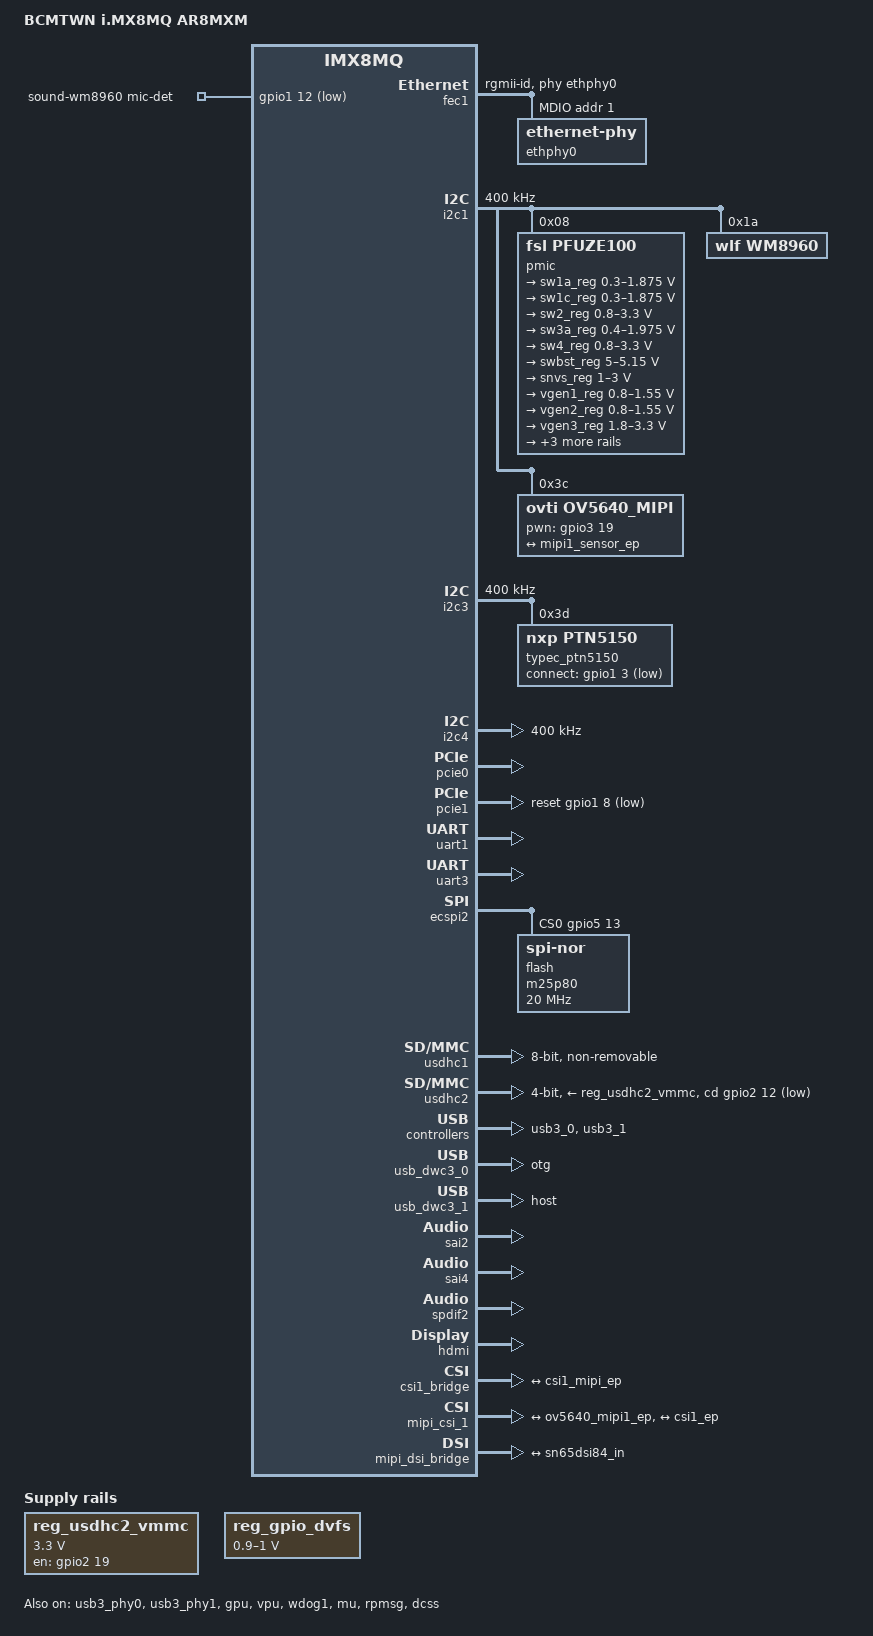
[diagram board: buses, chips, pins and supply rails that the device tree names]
/*
 */

/dts-v1/;

#include "fsl-imx8mq.dtsi"

/ {
	firmware {
		android {
			compatible = "android,firmware";
			fstab {
				compatible = "android,fstab";
				vendor {
					compatible = "android,vendor";
					/* sd card node which used if androidboot.storage_type=sd */
					dev_sd = "/dev/block/platform/30b50000.usdhc/by-name/vendor";
					/* emmc node which used if androidboot.storage_type=emmc */
					dev_emmc = "/dev/block/platform/30b40000.usdhc/by-name/vendor";
					/* default emmc node used for GSI */
					dev = "/dev/block/platform/30b40000.usdhc/by-name/vendor";
					type = "ext4";
					mnt_flags = "ro,barrier=1,inode_readahead_blks=8";
					fsmgr_flags = "wait,slotselect,avb";
				};
			};
			vbmeta {
				/*we need use FirstStageMountVBootV2 if we enable avb*/
				compatible = "android,vbmeta";
				/*parts means the partition witch can be mount in first stage*/
				parts = "vbmeta,boot,system,vendor";
			};
		};
	};
};

/ {
	model = "BCMTWN i.MX8MQ AR8MXM";
	compatible = "bcmtwn,imx8mq-ar8mxm", "fsl,imx8mq";

	chosen {
		bootargs = "console=ttymxc0,115200 earlycon=ec_imx6q,0x30860000,115200";
		stdout-path = &uart1;
	};

	regulators {
		compatible = "simple-bus";
		#address-cells = <1>;
		#size-cells = <0>;

		reg_usdhc2_vmmc: usdhc2_vmmc {
			compatible = "regulator-fixed";
			regulator-name = "VSD_3V3";
			regulator-min-microvolt = <3300000>;
			regulator-max-microvolt = <3300000>;
			gpio = <&gpio2 19 GPIO_ACTIVE_HIGH>;
			off-on-delay = <20000>;
			enable-active-high;
		};


		reg_gpio_dvfs: regulator-gpio {
			compatible = "regulator-gpio";
			pinctrl-names = "default";
			pinctrl-0 = <&pinctrl_dvfs>;
			regulator-min-microvolt = <900000>;
			regulator-max-microvolt = <1000000>;
			regulator-name = "gpio_dvfs";
			regulator-type = "voltage";
			gpios = <&gpio1 13 GPIO_ACTIVE_HIGH>;
			states = <900000 0x1 1000000 0x0>;
		};
	};

	sound-hdmi {
		compatible = "fsl,imx8mq-evk-cdnhdmi",
				"fsl,imx-audio-cdnhdmi";
		model = "imx-audio-hdmi";
		audio-cpu = <&sai4>;
		protocol = <1>;
		hdmi-out;
		constraint-rate = <44100>,
				<88200>,
				<176400>,
				<32000>,
				<48000>,
				<96000>,
				<192000>;
	};

	sound-hdmi-arc {
		compatible = "fsl,imx-audio-spdif";
		model = "imx-hdmi-arc";
		spdif-controller = <&spdif2>;
		spdif-in;
	};

	sound-wm8960 {
		compatible = "fsl,imx7d-evk-wm8960",
			     "fsl,imx-audio-wm8960";
		model = "wm8960-audio";
		cpu-dai = <&sai2>;
		audio-codec = <&wm8960>;
		codec-master;
		mic-det-gpios = <&gpio1 12 GPIO_ACTIVE_LOW>;
		audio-routing =
			"Headphone Jack", "HP_L",
			"Headphone Jack", "HP_R",
			"LINPUT1", "Mic Jack",
			"LINPUT2", "Mic Jack",
			"Mic Jack", "MICB";
	};

	bt_rfkill {
		compatible = "fsl,mxc_bt_rfkill";
		/* bt-power-gpios = <&gpio3 5 GPIO_ACTIVE_LOW>; */
		status ="okay";
	};

};

&clk {
	assigned-clocks = <&clk IMX8MQ_AUDIO_PLL1>, <&clk IMX8MQ_AUDIO_PLL2>;
	assigned-clock-rates = <786432000>, <722534400>;
};

&iomuxc {
	pinctrl-names = "default";
	pinctrl-0 = <&pinctrl_hog>;

	imx8mq-ar8mxm {
		pinctrl_hog: hoggrp {
			fsl,pins = <
                MX8MQ_IOMUXC_GPIO1_IO07_GPIO1_IO7          0x00001816		/* PMIC_nINT */
                MX8MQ_IOMUXC_GPIO1_IO11_GPIO1_IO11         0x00000016		/* USB30PW_EN */
                MX8MQ_IOMUXC_SAI1_MCLK_GPIO4_IO20          0x00000056		/* CAN_INT */
                MX8MQ_IOMUXC_SAI1_RXFS_GPIO4_IO0           0x00000016		/* USB_OC_B */
                MX8MQ_IOMUXC_SPDIF_EXT_CLK_GPIO5_IO5       0x00000016		/* FANOUT */


                MX8MQ_IOMUXC_GPIO1_IO10_GPIO1_IO10         0x00000016		/* SPK_DET */
                MX8MQ_IOMUXC_GPIO1_IO12_GPIO1_IO12         0x00000016		/* MIC_DET */

                MX8MQ_IOMUXC_SAI3_RXC_GPIO4_IO29           0x80000000		/* M2B_nRST */
                MX8MQ_IOMUXC_SAI3_RXFS_GPIO4_IO28          0x80000000		/* M2B_nDIS */

                MX8MQ_IOMUXC_SPDIF_RX_GPIO5_IO4            0x00000016		/* BL0_PWREN */
                MX8MQ_IOMUXC_SPDIF_TX_GPIO5_IO3            0x00000016		/* L0_PWREN */
                MX8MQ_IOMUXC_SAI1_TXC_GPIO4_IO11           0x00000016		/* LVDS0_TS_INT */


                MX8MQ_IOMUXC_NAND_CE2_B_GPIO3_IO3          0x00000016		/* DSI_TS_nINT */
                MX8MQ_IOMUXC_NAND_CE3_B_GPIO3_IO4          0x00000016		/* DSI_EN */


                MX8MQ_IOMUXC_SAI5_RXD1_GPIO3_IO22          0x00001816		/* ENET_nRST */
                MX8MQ_IOMUXC_SAI5_RXD2_GPIO3_IO23          0x00000016		/* ENET_nINT */


				/* PWM */
                MX8MQ_IOMUXC_GPIO1_IO01_PWM1_OUT           0x00000016
                MX8MQ_IOMUXC_SAI1_TXFS_GPIO4_IO10          0x00001816


				/* DIO CONN */
                MX8MQ_IOMUXC_NAND_RE_B_GPIO3_IO15          0x00000016
                MX8MQ_IOMUXC_NAND_READY_B_GPIO3_IO16  	   0x00000016
                MX8MQ_IOMUXC_NAND_WE_B_GPIO3_IO17          0x00000016
                MX8MQ_IOMUXC_NAND_WP_B_GPIO3_IO18          0x00000016
                MX8MQ_IOMUXC_NAND_DATA04_GPIO3_IO10        0x00000016
                MX8MQ_IOMUXC_NAND_DATA05_GPIO3_IO11        0x00000016
                MX8MQ_IOMUXC_NAND_DATA06_GPIO3_IO12        0x00000016
                MX8MQ_IOMUXC_NAND_DATA07_GPIO3_IO13        0x00000016


				/* CLK */
                MX8MQ_IOMUXC_GPIO1_IO00_ANAMIX_REF_CLK_32K 0x59				/* REF_CLK_32K */
                MX8MQ_IOMUXC_GPIO1_IO14_CCMSRCGPCMIX_CLKO1 0x59
			>;
		};


		pinctrl_fec1: fec1grp {
			fsl,pins = <
                MX8MQ_IOMUXC_ENET_MDC_ENET1_MDC            0x3
                MX8MQ_IOMUXC_ENET_MDIO_ENET1_MDIO          0x23
                MX8MQ_IOMUXC_ENET_RD0_ENET1_RGMII_RD0      0x91
                MX8MQ_IOMUXC_ENET_RD1_ENET1_RGMII_RD1      0x91
                MX8MQ_IOMUXC_ENET_RD2_ENET1_RGMII_RD2      0x91
                MX8MQ_IOMUXC_ENET_RD3_ENET1_RGMII_RD3      0x91
                MX8MQ_IOMUXC_ENET_RXC_ENET1_RGMII_RXC      0x91
                MX8MQ_IOMUXC_ENET_RX_CTL_ENET1_RGMII_RX_CTL 0x91
                MX8MQ_IOMUXC_ENET_TD0_ENET1_RGMII_TD0      0x1f
                MX8MQ_IOMUXC_ENET_TD1_ENET1_RGMII_TD1      0x1f
                MX8MQ_IOMUXC_ENET_TD2_ENET1_RGMII_TD2      0x1f
                MX8MQ_IOMUXC_ENET_TD3_ENET1_RGMII_TD3      0x1f
                MX8MQ_IOMUXC_ENET_TXC_ENET1_RGMII_TXC      0x1f
                MX8MQ_IOMUXC_ENET_TX_CTL_ENET1_RGMII_TX_CTL 0x1f
			>;
		};

		pinctrl_i2c1: i2c1grp {
			fsl,pins = <
                MX8MQ_IOMUXC_I2C1_SCL_I2C1_SCL             0x4000007f
                MX8MQ_IOMUXC_I2C1_SDA_I2C1_SDA             0x4000007f
			>;
		};

		pinctrl_i2c2: i2c2grp {
			fsl,pins = <
                MX8MQ_IOMUXC_I2C2_SCL_I2C2_SCL             0x4000007f
                MX8MQ_IOMUXC_I2C2_SDA_I2C2_SDA             0x4000007f
			>;
		};

		pinctrl_i2c3: i2c3grp {
			fsl,pins = <
				MX8MQ_IOMUXC_I2C3_SCL_I2C3_SCL			   0x4000007f
				MX8MQ_IOMUXC_I2C3_SDA_I2C3_SDA			   0x4000007f
			>;
		};

		pinctrl_i2c4: i2c4grp {
			fsl,pins = <
				MX8MQ_IOMUXC_I2C4_SCL_I2C4_SCL			   0x4000007f
				MX8MQ_IOMUXC_I2C4_SDA_I2C4_SDA			   0x4000007f
			>;
		};

		pinctrl_pcie0: pcie0grp {
			fsl,pins = <
                MX8MQ_IOMUXC_GPIO1_IO05_GPIO1_IO5          0x16	/* PCIE_WAKE_R_N */
                MX8MQ_IOMUXC_UART4_RXD_GPIO5_IO28      	   0x16
			>;
		};

		pinctrl_pcie1: pcie1grp {
			fsl,pins = <
                MX8MQ_IOMUXC_GPIO1_IO08_GPIO1_IO8          0x16	/* PCIe_nRST */
                MX8MQ_IOMUXC_GPIO1_IO09_GPIO1_IO9          0x16	/* PCIe_nDIS */
                MX8MQ_IOMUXC_SAI1_RXC_GPIO4_IO1            0x16	/* PCIe_nWAKE */
                MX8MQ_IOMUXC_UART4_TXD_GPIO5_IO29      	   0x16 /* PCIe2_CLKREQ */
			>;
		};

		pinctrl_dvfs: dvfsgrp {
			fsl,pins = <
				MX8MQ_IOMUXC_GPIO1_IO13_GPIO1_IO13		   0x16
			>;
		};

		pinctrl_qspi: qspigrp {
			fsl,pins = <
                MX8MQ_IOMUXC_NAND_ALE_QSPI_A_SCLK          0x82
                MX8MQ_IOMUXC_NAND_CE0_B_QSPI_A_SS0_B       0x82
                MX8MQ_IOMUXC_NAND_DATA00_QSPI_A_DATA0      0x82
                MX8MQ_IOMUXC_NAND_DATA01_QSPI_A_DATA1      0x82
                MX8MQ_IOMUXC_NAND_DATA02_QSPI_A_DATA2      0x82
                MX8MQ_IOMUXC_NAND_DATA03_QSPI_A_DATA3      0x82
			>;
		};

		pinctrl_ecspi2: exspi2grp {
			fsl,pins = <
                MX8MQ_IOMUXC_ECSPI2_MOSI_ECSPI2_MOSI      0x82
                MX8MQ_IOMUXC_ECSPI2_MISO_ECSPI2_MISO      0x82
                MX8MQ_IOMUXC_ECSPI2_SCLK_ECSPI2_SCLK      0x82
			>;
		};

		pinctrl_ecspi2_cs: ecspi2cs {
			fsl,pins = <
                MX8MQ_IOMUXC_ECSPI2_SS0_GPIO5_IO13        0x82
			>;
		};
		

		pinctrl_ptn5150: typecgrp {
			fsl,pins = <
				MX8MQ_IOMUXC_SAI5_RXD3_GPIO3_IO24		   0x16			/* USB1_SS_SEL, not used */
				MX8MQ_IOMUXC_GPIO1_IO03_GPIO1_IO3          0x00000016
			>;
		};

		pinctrl_uart1: uart1grp {
			fsl,pins = <
				MX8MQ_IOMUXC_UART1_RXD_UART1_DCE_RX		    0x49
				MX8MQ_IOMUXC_UART1_TXD_UART1_DCE_TX		    0x49
			>;
		};

		pinctrl_uart3: uart3grp {
			fsl,pins = <
				MX8MQ_IOMUXC_UART3_TXD_UART3_DTE_RX				0x49
				MX8MQ_IOMUXC_UART3_RXD_UART3_DTE_TX				0x49
				MX8MQ_IOMUXC_ECSPI1_MISO_UART3_DTE_RTS_B		0x49
				MX8MQ_IOMUXC_ECSPI1_SS0_UART3_DTE_CTS_B			0x49
			>;
		};

		pinctrl_usdhc1: usdhc1grp {
			fsl,pins = <
				MX8MQ_IOMUXC_SD1_CLK_USDHC1_CLK			0x83
				MX8MQ_IOMUXC_SD1_CMD_USDHC1_CMD			0xc3
				MX8MQ_IOMUXC_SD1_DATA0_USDHC1_DATA0		0xc3
				MX8MQ_IOMUXC_SD1_DATA1_USDHC1_DATA1		0xc3
				MX8MQ_IOMUXC_SD1_DATA2_USDHC1_DATA2		0xc3
				MX8MQ_IOMUXC_SD1_DATA3_USDHC1_DATA3		0xc3
				MX8MQ_IOMUXC_SD1_DATA4_USDHC1_DATA4		0xc3
				MX8MQ_IOMUXC_SD1_DATA5_USDHC1_DATA5		0xc3
				MX8MQ_IOMUXC_SD1_DATA6_USDHC1_DATA6		0xc3
				MX8MQ_IOMUXC_SD1_DATA7_USDHC1_DATA7		0xc3
				MX8MQ_IOMUXC_SD1_STROBE_USDHC1_STROBE		0x83
				MX8MQ_IOMUXC_SD1_RESET_B_USDHC1_RESET_B		0xc1
			>;
		};

		pinctrl_usdhc1_100mhz: usdhc1grp100mhz {
			fsl,pins = <
				MX8MQ_IOMUXC_SD1_CLK_USDHC1_CLK			0x85
				MX8MQ_IOMUXC_SD1_CMD_USDHC1_CMD			0xc5
				MX8MQ_IOMUXC_SD1_DATA0_USDHC1_DATA0		0xc5
				MX8MQ_IOMUXC_SD1_DATA1_USDHC1_DATA1		0xc5
				MX8MQ_IOMUXC_SD1_DATA2_USDHC1_DATA2		0xc5
				MX8MQ_IOMUXC_SD1_DATA3_USDHC1_DATA3		0xc5
				MX8MQ_IOMUXC_SD1_DATA4_USDHC1_DATA4		0xc5
				MX8MQ_IOMUXC_SD1_DATA5_USDHC1_DATA5		0xc5
				MX8MQ_IOMUXC_SD1_DATA6_USDHC1_DATA6		0xc5
				MX8MQ_IOMUXC_SD1_DATA7_USDHC1_DATA7		0xc5
				MX8MQ_IOMUXC_SD1_STROBE_USDHC1_STROBE		0x85
				MX8MQ_IOMUXC_SD1_RESET_B_USDHC1_RESET_B		0xc1
			>;
		};

		pinctrl_usdhc1_200mhz: usdhc1grp200mhz {
			fsl,pins = <
				MX8MQ_IOMUXC_SD1_CLK_USDHC1_CLK			0x87
				MX8MQ_IOMUXC_SD1_CMD_USDHC1_CMD			0xc7
				MX8MQ_IOMUXC_SD1_DATA0_USDHC1_DATA0		0xc7
				MX8MQ_IOMUXC_SD1_DATA1_USDHC1_DATA1		0xc7
				MX8MQ_IOMUXC_SD1_DATA2_USDHC1_DATA2		0xc7
				MX8MQ_IOMUXC_SD1_DATA3_USDHC1_DATA3		0xc7
				MX8MQ_IOMUXC_SD1_DATA4_USDHC1_DATA4		0xc7
				MX8MQ_IOMUXC_SD1_DATA5_USDHC1_DATA5		0xc7
				MX8MQ_IOMUXC_SD1_DATA6_USDHC1_DATA6		0xc7
				MX8MQ_IOMUXC_SD1_DATA7_USDHC1_DATA7		0xc7
				MX8MQ_IOMUXC_SD1_STROBE_USDHC1_STROBE		0x87
				MX8MQ_IOMUXC_SD1_RESET_B_USDHC1_RESET_B		0xc1
			>;
		};

		pinctrl_usdhc2_gpio: usdhc2grpgpio {
			fsl,pins = <
				MX8MQ_IOMUXC_SD2_CD_B_GPIO2_IO12	0x41
				MX8MQ_IOMUXC_SD2_RESET_B_GPIO2_IO19	0x41
			>;
		};

		pinctrl_usdhc2: usdhc2grp {
			fsl,pins = <
				MX8MQ_IOMUXC_SD2_CLK_USDHC2_CLK			0x83
				MX8MQ_IOMUXC_SD2_CMD_USDHC2_CMD			0xc3
				MX8MQ_IOMUXC_SD2_DATA0_USDHC2_DATA0		0xc3
				MX8MQ_IOMUXC_SD2_DATA1_USDHC2_DATA1		0xc3
				MX8MQ_IOMUXC_SD2_DATA2_USDHC2_DATA2		0xc3
				MX8MQ_IOMUXC_SD2_DATA3_USDHC2_DATA3		0xc3
				MX8MQ_IOMUXC_GPIO1_IO04_USDHC2_VSELECT		0xc1
			>;
		};

		pinctrl_usdhc2_100mhz: usdhc2grp100mhz {
			fsl,pins = <
				MX8MQ_IOMUXC_SD2_CLK_USDHC2_CLK			0x85
				MX8MQ_IOMUXC_SD2_CMD_USDHC2_CMD			0xc5
				MX8MQ_IOMUXC_SD2_DATA0_USDHC2_DATA0		0xc5
				MX8MQ_IOMUXC_SD2_DATA1_USDHC2_DATA1		0xc5
				MX8MQ_IOMUXC_SD2_DATA2_USDHC2_DATA2		0xc5
				MX8MQ_IOMUXC_SD2_DATA3_USDHC2_DATA3		0xc5
				MX8MQ_IOMUXC_GPIO1_IO04_USDHC2_VSELECT		0xc1
			>;
		};

		pinctrl_usdhc2_200mhz: usdhc2grp200mhz {
			fsl,pins = <
				MX8MQ_IOMUXC_SD2_CLK_USDHC2_CLK			0x87
				MX8MQ_IOMUXC_SD2_CMD_USDHC2_CMD			0xc7
				MX8MQ_IOMUXC_SD2_DATA0_USDHC2_DATA0		0xc7
				MX8MQ_IOMUXC_SD2_DATA1_USDHC2_DATA1		0xc7
				MX8MQ_IOMUXC_SD2_DATA2_USDHC2_DATA2		0xc7
				MX8MQ_IOMUXC_SD2_DATA3_USDHC2_DATA3		0xc7
				MX8MQ_IOMUXC_GPIO1_IO04_USDHC2_VSELECT		0xc1
			>;
		};

		pinctrl_sai2: sai2grp {
			fsl,pins = <
                MX8MQ_IOMUXC_SAI2_MCLK_SAI2_MCLK           0xd6
                MX8MQ_IOMUXC_SAI2_RXC_SAI2_RX_BCLK         0xd6
                MX8MQ_IOMUXC_SAI2_RXD0_SAI2_RX_DATA0       0xd6
                MX8MQ_IOMUXC_SAI2_RXFS_SAI2_RX_SYNC        0xd6
                MX8MQ_IOMUXC_SAI2_TXC_SAI2_TX_BCLK         0xd6
                MX8MQ_IOMUXC_SAI2_TXD0_SAI2_TX_DATA0       0xd6
                MX8MQ_IOMUXC_SAI2_TXFS_SAI2_TX_SYNC        0xd6
			>;
		};

		pinctrl_sai3: sai3grp {
			fsl,pins = <
                MX8MQ_IOMUXC_SAI3_MCLK_SAI3_MCLK             0xd6
                MX8MQ_IOMUXC_SAI3_RXD_SAI3_RX_DATA0          0xd6
                MX8MQ_IOMUXC_SAI3_TXC_SAI3_TX_BCLK           0xd6
                MX8MQ_IOMUXC_SAI3_TXD_SAI3_TX_DATA0          0xd6
                MX8MQ_IOMUXC_SAI3_TXFS_SAI3_TX_SYNC          0xd6
			>;
		};

		pinctrl_csi1_pwn: csi1_pwn_grp {
			fsl,pins = <
				MX8MQ_IOMUXC_SAI5_RXFS_GPIO3_IO19		0x19
			>;
		};
		pinctrl_csi2_pwn: csi2_pwn_grp {
			fsl,pins = <
				MX8MQ_IOMUXC_SAI5_RXC_GPIO3_IO20		0x19
			>;
		};

		pinctrl_csi_rst: csi_rst_grp {
			fsl,pins = <
				MX8MQ_IOMUXC_GPIO1_IO06_GPIO1_IO6		0x19
				MX8MQ_IOMUXC_GPIO1_IO15_CCMSRCGPCMIX_CLKO2	0x59
			>;
		};

		pinctrl_wdog: wdoggrp {
			fsl,pins = <
                MX8MQ_IOMUXC_GPIO1_IO02_WDOG1_WDOG_B       0xc6
			>;
		};

		pinctrl_mipi_dsi_en: mipi_dsi_en {
			fsl,pins = <
				MX8MQ_IOMUXC_SAI5_RXD0_GPIO3_IO21		0x16
			>;
		};

	};
};

&fec1 {
	pinctrl-names = "default";
	pinctrl-0 = <&pinctrl_fec1>;
	phy-mode = "rgmii-id";
	phy-handle = <&ethphy0>;
	fsl,magic-packet;
	status = "okay";

	mdio {
		#address-cells = <1>;
		#size-cells = <0>;

		ethphy0: ethernet-phy@1 {
			/*
			rxc-skew-ps = <3000>;
			rxdv-skew-ps = <0>;
			txc-skew-ps = <3000>;
			txen-skew-ps = <0>;
			*/
			reg = <1>;
		};
	};
};

&i2c1 {
	clock-frequency = <400000>;
	pinctrl-names = "default";
	pinctrl-0 = <&pinctrl_i2c1>;
	status = "okay";


	pmic: pfuze100@08 {
		compatible = "fsl,pfuze100";
		reg = <0x08>;

		regulators {
			sw1a_reg: sw1ab {
				regulator-min-microvolt = <300000>;
				regulator-max-microvolt = <1875000>;
			};

			sw1c_reg: sw1c {
				regulator-min-microvolt = <300000>;
				regulator-max-microvolt = <1875000>;
			};

			sw2_reg: sw2 {
				regulator-min-microvolt = <800000>;
				regulator-max-microvolt = <3300000>;
				regulator-always-on;
			};

			sw3a_reg: sw3ab {
				regulator-min-microvolt = <400000>;
				regulator-max-microvolt = <1975000>;
				regulator-always-on;
			};

			sw4_reg: sw4 {
				regulator-min-microvolt = <800000>;
				regulator-max-microvolt = <3300000>;
				regulator-always-on;
			};

			swbst_reg: swbst {
				regulator-min-microvolt = <5000000>;
				regulator-max-microvolt = <5150000>;
			};

			snvs_reg: vsnvs {
				regulator-min-microvolt = <1000000>;
				regulator-max-microvolt = <3000000>;
				regulator-always-on;
			};

			vref_reg: vrefddr {
				regulator-always-on;
			};

			vgen1_reg: vgen1 {
				regulator-min-microvolt = <800000>;
				regulator-max-microvolt = <1550000>;
			};

			vgen2_reg: vgen2 {
				regulator-min-microvolt = <800000>;
				regulator-max-microvolt = <1550000>;
				regulator-always-on;
			};

			vgen3_reg: vgen3 {
				regulator-min-microvolt = <1800000>;
				regulator-max-microvolt = <3300000>;
				regulator-always-on;
			};

			vgen4_reg: vgen4 {
				regulator-min-microvolt = <1800000>;
				regulator-max-microvolt = <3300000>;
				regulator-always-on;
			};

			vgen5_reg: vgen5 {
				regulator-min-microvolt = <1800000>;
				regulator-max-microvolt = <3300000>;
				regulator-always-on;
			};

			vgen6_reg: vgen6 {
				regulator-min-microvolt = <1800000>;
				regulator-max-microvolt = <3300000>;
			};
		};
	};

	wm8960: wm8960@1a {
		compatible = "wlf,wm8960";
		reg = <0x1a>;
		clocks = <&clk IMX8MQ_CLK_SAI2_ROOT>;
		clock-names = "mclk";
		wlf,shared-lrclk;
	};

	ov5640_mipi: ov5640_mipi@3c {
		compatible = "ovti,ov5640_mipi";
		reg = <0x3c>;
		status = "okay";
		pinctrl-names = "default";
		pinctrl-0 = <&pinctrl_csi1_pwn>, <&pinctrl_csi_rst>;
		clocks = <&clk IMX8MQ_CLK_CLKO2>;
		clock-names = "csi_mclk";
		assigned-clocks = <&clk IMX8MQ_CLK_CLKO2>;
		assigned-clock-parents = <&clk IMX8MQ_SYS2_PLL_200M>;
		assigned-clock-rates = <20000000>;
		csi_id = <0>;
		pwn-gpios = <&gpio3 19 GPIO_ACTIVE_HIGH>;
		mclk = <20000000>;
		mclk_source = <0>;
		port {
			ov5640_mipi1_ep: endpoint {
				remote-endpoint = <&mipi1_sensor_ep>;
			};
		};
	};

	dsi_lvds_bridge: sn65dsi84@2c {
		compatible = "ti,sn65dsi83";
		reg = <0x2c>;
		ti,dsi-lanes = <4>;
		ti,lvds-format = <1>;
		ti,lvds-bpp = <24>;
		ti,width-mm = <304>;
		ti,height-mm = <228>;
		enable-gpios = <&gpio3 21 GPIO_ACTIVE_HIGH>;
		pinctrl-names = "default";
		pinctrl-0 = <&pinctrl_mipi_dsi_en>;
		status = "disabled";

		display-timings {
			lvds {
				clock-frequency = <65000000>;
				hactive = <1024>;
				vactive = <768>;
				hback-porch = <150>;
				hfront-porch = <150>;
				vback-porch = <15>;
				vfront-porch = <15>;
				hsync-len = <20>;
				vsync-len = <8>;
				hsync-active = <0>;
				vsync-active = <0>;
				de-active = <1>;
				pixelclk-active = <0>;
			};
		};

		port {
			sn65dsi84_in: endpoint {
				remote-endpoint = <&mipi_dsi_bridge_out>;
			};
		};

	};

};

&i2c2 {
	clock-frequency = <400000>;
	pinctrl-names = "default";
	pinctrl-0 = <&pinctrl_i2c2>;
	status = "disabled";

};

&i2c3 {
	clock-frequency = <400000>;
	pinctrl-names = "default";
	pinctrl-0 = <&pinctrl_i2c3>;
	status = "okay";

	typec_ptn5150: typec@3d {
		compatible = "nxp,ptn5150";
		pinctrl-names = "default";
		pinctrl-0 = <&pinctrl_ptn5150>;
		reg = <0x3d>;
		connect-gpios = <&gpio1 3 GPIO_ACTIVE_LOW>;
	};
};

&i2c4 {
	clock-frequency = <400000>;
	pinctrl-names = "default";
	pinctrl-0 = <&pinctrl_i2c4>;
	status = "okay";

	ov5640_mipi2: ov5640_mipi2@3c {
		compatible = "ovti,ov5640_mipi";
		reg = <0x3c>;
		status = "disabled";	/* if enabled, this will be back camera, remember to enable csi2 and csi2_bridge as well. */
		pinctrl-names = "default";
		pinctrl-0 = <&pinctrl_csi2_pwn>, <&pinctrl_csi_rst>;
		/* pinctrl-0 = <&pinctrl_csi2_pwn>; */
		clocks = <&clk IMX8MQ_CLK_CLKO2>;
		clock-names = "csi_mclk";
		assigned-clocks = <&clk IMX8MQ_CLK_CLKO2>;
		assigned-clock-parents = <&clk IMX8MQ_SYS2_PLL_200M>;
		assigned-clock-rates = <20000000>;
		csi_id = <1>;
		pwn-gpios = <&gpio3 20 GPIO_ACTIVE_HIGH>;
		mclk = <20000000>;
		mclk_source = <0>;
		port {
			ov5640_mipi2_ep: endpoint {
				remote-endpoint = <&mipi2_sensor_ep>;
			};
		};
	};
};

&pcie0{
	pinctrl-names = "default";
	pinctrl-0 = <&pinctrl_pcie0>;
	clkreq-gpio = <&gpio5 28 GPIO_ACTIVE_LOW>;
	ext_osc = <1>;
	hard-wired = <1>;
	status = "okay";
};

&pcie1{
	pinctrl-names = "default";
	pinctrl-0 = <&pinctrl_pcie1>;
	clkreq-gpio = <&gpio5 29 GPIO_ACTIVE_LOW>;
	disable-gpio = <&gpio1 9 GPIO_ACTIVE_LOW>;
	reset-gpio = <&gpio1 8 GPIO_ACTIVE_LOW>;
	wake-gpio = <&gpio4 1 GPIO_ACTIVE_LOW>;
	ext_osc = <1>;
	status = "okay";
};

&uart1 { /* console */
	pinctrl-names = "default";
	pinctrl-0 = <&pinctrl_uart1>;
	assigned-clocks = <&clk IMX8MQ_CLK_UART1>;
	assigned-clock-parents = <&clk IMX8MQ_CLK_25M>;
	status = "okay";
};

&uart3 {
	pinctrl-names = "default";
	pinctrl-0 = <&pinctrl_uart3>;
	assigned-clocks = <&clk IMX8MQ_CLK_UART3>;
	assigned-clock-parents = <&clk IMX8MQ_SYS1_PLL_80M>;
	fsl,uart-has-rtscts;
	fsl,dte-mode;
	status = "okay";
};

&qspi {
	pinctrl-names = "default";
	pinctrl-0 = <&pinctrl_qspi>;
	status = "disabled";
};

&ecspi2 {
	cs-gpios = <&gpio5 13 GPIO_ACTIVE_HIGH>;
	pinctrl-names = "default";
	pinctrl-0 = <&pinctrl_ecspi2 &pinctrl_ecspi2_cs>;
	status = "okay";

	flash: m25p80@0 {
		#address-cells = <1>;
		#size-cells = <1>;
		compatible = "jedec,spi-nor";
		spi-max-frequency = <20000000>;
		reg = <0>;

		/*
		partition@0 {
			label = "TEST";
			reg = <0x0 0xFFFF>;
		};
		*/
	};
};

&usdhc1 {
	pinctrl-names = "default", "state_100mhz", "state_200mhz";
	pinctrl-0 = <&pinctrl_usdhc1>;
	pinctrl-1 = <&pinctrl_usdhc1_100mhz>;
	pinctrl-2 = <&pinctrl_usdhc1_200mhz>;
	bus-width = <8>;
	non-removable;
	status = "okay";
};

&usdhc2 {
	pinctrl-names = "default", "state_100mhz", "state_200mhz";
	pinctrl-0 = <&pinctrl_usdhc2>, <&pinctrl_usdhc2_gpio>;
	pinctrl-1 = <&pinctrl_usdhc2_100mhz>, <&pinctrl_usdhc2_gpio>;
	pinctrl-2 = <&pinctrl_usdhc2_200mhz>, <&pinctrl_usdhc2_gpio>;
	bus-width = <4>;
	cd-gpios = <&gpio2 12 GPIO_ACTIVE_LOW>;
	vmmc-supply = <&reg_usdhc2_vmmc>;
	status = "okay";
};

	
&usb3_phy0 {
	status = "okay";
};

&usb3_0 {
	status = "okay";
};

&usb_dwc3_0 {
	status = "okay";
	extcon = <&typec_ptn5150>;
	dr_mode = "otg";
	hnp-disable;
	srp-disable;
	adp-disable;
};

&usb3_phy1 {
	status = "okay";
};

&usb3_1 {
	status = "okay";
};

&usb_dwc3_1 {
	status = "okay";
	dr_mode = "host";
};

&sai2 {
	pinctrl-names = "default";
	pinctrl-0 = <&pinctrl_sai2>;
	assigned-clocks = <&clk IMX8MQ_CLK_SAI2>;
	assigned-clock-parents = <&clk IMX8MQ_AUDIO_PLL1_OUT>;
	assigned-clock-rates = <24576000>;
	status = "okay";
};

&sai3 {
	pinctrl-names = "default";
	pinctrl-0 = <&pinctrl_sai3>;
	assigned-clocks = <&clk IMX8MQ_CLK_SAI3>;
	assigned-clock-parents = <&clk IMX8MQ_AUDIO_PLL1_OUT>;
	assigned-clock-rates = <24576000>;
	status = "dsiabled";
};

&sai4 {
	assigned-clocks = <&clk IMX8MQ_CLK_SAI4>;
	assigned-clock-parents = <&clk IMX8MQ_AUDIO_PLL1_OUT>;
	assigned-clock-rates = <24576000>;
	clocks = <&clk IMX8MQ_CLK_SAI4_IPG>, <&clk IMX8MQ_CLK_DUMMY>,
		<&clk IMX8MQ_CLK_SAI4_ROOT>, <&clk IMX8MQ_CLK_DUMMY>,
		<&clk IMX8MQ_CLK_DUMMY>, <&clk IMX8MQ_AUDIO_PLL1_OUT>,
		<&clk IMX8MQ_AUDIO_PLL2_OUT>;
	clock-names = "bus", "mclk0", "mclk1", "mclk2", "mclk3", "pll8k", "pll11k";
	status = "okay";
};

&spdif2 {
	assigned-clocks = <&clk IMX8MQ_CLK_SPDIF2>;
	assigned-clock-parents = <&clk IMX8MQ_AUDIO_PLL1_OUT>;
	assigned-clock-rates = <24576000>;
	status = "okay";
};

&gpu_pd {
	power-supply = <&sw1a_reg>;
};

&vpu_pd {
	power-supply = <&sw1c_reg>;
};

&gpu {
	status = "okay";
};

&vpu {
	status = "okay";
};

&wdog1 {
	pinctrl-names = "default";
	pinctrl-0 = <&pinctrl_wdog>;
	fsl,ext-reset-output;
	status = "okay";
};

&mu {
	status = "okay";
};

&rpmsg{
	/*
	 * 64K for one rpmsg instance:
	 * --0x98000000~0x9800ffff: pingpong
	 */
	vdev-nums = <1>;
	reg = <0x0 0xb8000000 0x0 0x10000>;
	status = "okay";
};

&A53_0 {
	operating-points = <
		/* kHz    uV */
		1500000 1000000
		1300000 1000000
		1000000 900000
		800000  900000
	>;
	dc-supply = <&reg_gpio_dvfs>;
};

/* Data for energy-aware-scheduling */
/{
	cpus {
		energy-costs {
			CPU_COST_A53: core-cost-a53 {
				busy-cost-data = <
					546  1017
					682  1272
					887  2041
					1024 2356
				>;
				idle-cost-data = <
					94
					94
					0
				>;
			};
			CLUSTER_COST_A53: cluster-cost-a53 {
				busy-cost-data = <
					546  1017
					682  1272
					887  2041
					1024 3095
				>;
				idle-cost-data = <
					1037
					1037
					1037
				>;
			};
		};
	};
};

&A53_0 {
	sched-energy-costs = <&CPU_COST_A53 &CLUSTER_COST_A53>;
};
&A53_1 {
	sched-energy-costs = <&CPU_COST_A53 &CLUSTER_COST_A53>;
};
&A53_2 {
	sched-energy-costs = <&CPU_COST_A53 &CLUSTER_COST_A53>;
};
&A53_3 {
	sched-energy-costs = <&CPU_COST_A53 &CLUSTER_COST_A53>;
};

&dcss {
	status = "okay";

	disp-dev = "hdmi_disp";
};

&hdmi {
	status = "okay";
};

&csi1_bridge {
	fsl,mipi-mode;
	fsl,two-8bit-sensor-mode;
	status = "okay";

	port {
		csi1_ep: endpoint {
			remote-endpoint = <&csi1_mipi_ep>;
		};
	};
};

&csi2_bridge {
	fsl,mipi-mode;
	fsl,two-8bit-sensor-mode;
	status = "disabled";

	port {
		csi2_ep: endpoint {
			remote-endpoint = <&csi2_mipi_ep>;
		};
	};
};

&mipi_csi_1 {
	#address-cells = <1>;
	#size-cells = <0>;
	status = "okay";
	port {
		mipi1_sensor_ep: endpoint1 {
			remote-endpoint = <&ov5640_mipi1_ep>;
			data-lanes = <1 2>;
		};

		csi1_mipi_ep: endpoint2 {
			remote-endpoint = <&csi1_ep>;
		};
	};
};

&mipi_csi_2 {
	#address-cells = <1>;
	#size-cells = <0>;
	status = "disabled";
	port {
		mipi2_sensor_ep: endpoint1 {
			remote-endpoint = <&ov5640_mipi2_ep>;
			data-lanes = <1 2>;
		};

		csi2_mipi_ep: endpoint2 {
			remote-endpoint = <&csi2_ep>;
		};
	};
};

&mipi_dsi_bridge {
	port@1 {
		mipi_dsi_bridge_out: endpoint {
			remote-endpoint = <&sn65dsi84_in>;
		};
	};
};

&crypto {
       status = "disabled";
};

&resmem {
	carveout_region: imx_ion@0 {
		compatible = "imx-ion-pool";
		reg = <0x0 0xf8000000 0 0x8000000>;
	};
};

